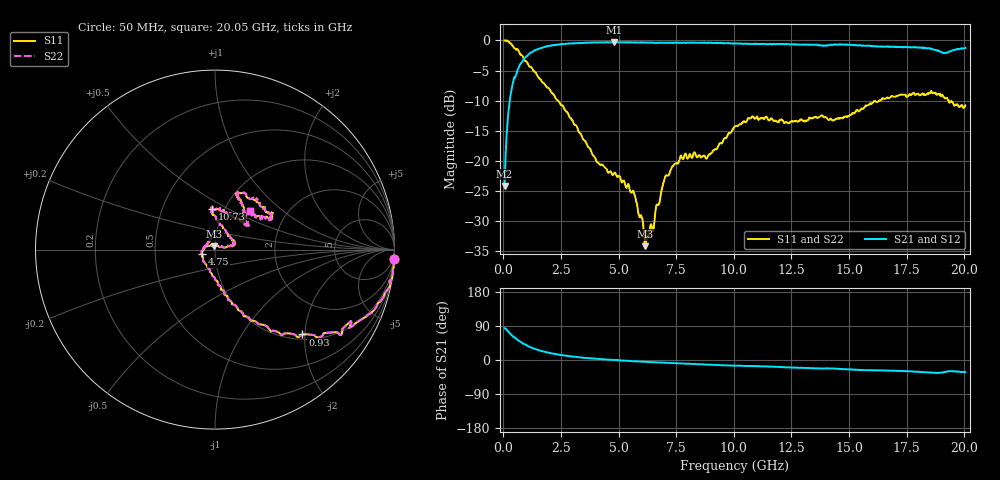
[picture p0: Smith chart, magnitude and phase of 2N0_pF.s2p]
! P/N: 500R07S2R0BV4
! Measured by Marlon
! Oct. 28, 2003
#	mhz	s	ma	r	50
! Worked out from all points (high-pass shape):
!   1001 points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, 50 MHz to 20.05 GHz, reference 50 ohm
!   highest |S21| = -0.26 dB at 4.79 GHz (marker M1); lowest = -24.1 dB at 50 MHz (marker M2)
!   |S21| within 3 dB of the highest: 856.5 MHz to end of sweep
!   lowest |S11| = -34.1 dB at 6.15 GHz (marker M3), VSWR 1.04, Z = 49.5 + j1.89 ohm
!   |S11| at or under -10 dB: 2.372 GHz to 16.29 GHz (13.92 GHz wide, 149 % of centre); 19.33 GHz to end of sweep
!   |S22| runs from -34.1 to 0.0 dB; largest |S21 - S12| = 0
!   S11 on the Smith chart (normalised r, x): 50 MHz: 0, -40; 930 MHz: 1.11, -1.94; 4.75 GHz: 0.86, -0.04; 10.73 GHz: 0.88, +0.42; 20.05 GHz: 1.32, +0.62
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50  0.9999 -2.9  0.06217 83.8  0.06217 83.8  0.9999 -2.9
210  0.9763 -14.5  0.2463 74.7  0.2463 74.7  0.9763 -14.5
370  0.9203 -24.0  0.4099 64.9  0.4099 64.9  0.9203 -24.0
930  0.6787 -44.2  0.7185 41.1  0.7185 41.1  0.6787 -44.2
1830  0.4224 -63.6  0.8875 21.0  0.8875 21.0  0.4224 -63.6
3390  0.1624 -89.9  0.9525 6.6  0.9525 6.6  0.1624 -89.9
4750  0.07636 -160.4  0.9634 0.2  0.9634 0.2  0.07636 -160.4
4790  0.07842 -163.6  0.9704 0.0  0.9704 0.0  0.07842 -163.6
5670  0.05412 155.2  0.963 -3.4  0.963 -3.4  0.05412 155.2
6150  0.01964 103.7  0.9613 -4.8  0.9613 -4.8  0.01964 103.7
6450  0.02766 56.1  0.9592 -6.0  0.9592 -6.0  0.02766 56.1
6730  0.0432 23.1  0.9582 -6.4  0.9582 -6.4  0.0432 23.1
6990  0.07088 13.1  0.9556 -7.2  0.9556 -7.2  0.07088 13.1
7410  0.09366 14.6  0.9569 -8.5  0.9569 -8.5  0.09366 14.6
8870  0.1098 47.1  0.9583 -12.2  0.9583 -12.2  0.1098 47.1
10050  0.1933 92.5  0.9488 -14.8  0.9488 -14.8  0.1933 92.5
10730  0.226 93.8  0.9382 -15.9  0.9382 -15.9  0.226 93.8
13390  0.2254 44.0  0.9222 -21.6  0.9222 -21.6  0.2254 44.0
14670  0.2265 43.6  0.9278 -23.9  0.9278 -23.9  0.2265 43.6
16730  0.332 69.7  0.8938 -27.6  0.8938 -27.6  0.332 69.7
18650  0.3682 32.7  0.8431 -32.9  0.8431 -32.9  0.3682 32.7
20050  0.2888 47.9  0.8668 -32.3  0.8668 -32.3  0.2888 47.9
